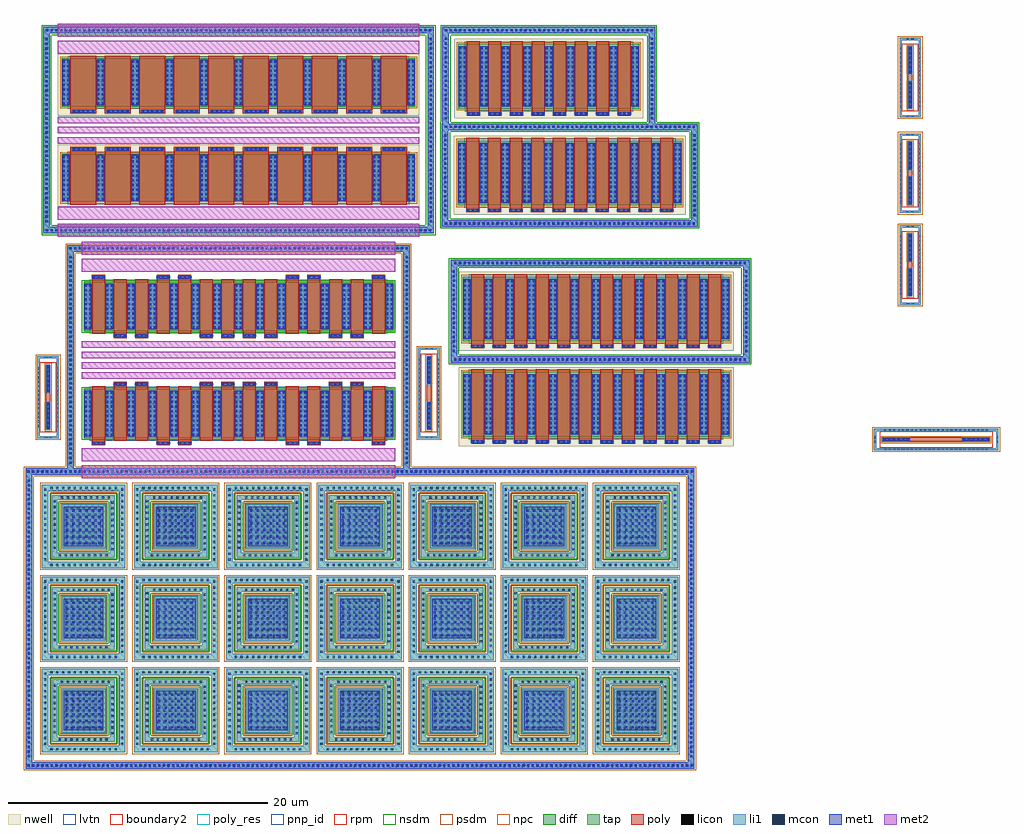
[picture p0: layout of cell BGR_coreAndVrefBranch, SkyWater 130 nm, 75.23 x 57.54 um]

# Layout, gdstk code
from math import pi, radians
import gdstk
lib = gdstk.Library(unit=1e-6, precision=5e-09)
def R(c, l, rs):  # rectangles x0, y0, x1, y1
    for r in rs: c.add(gdstk.rectangle(r[:2], r[2:], *l))
def A(c, l, x, y, w, h, nx, ny, dx, dy):  # array of equal rectangles
    R(c, l, [(x+i*dx, y+j*dy, x+i*dx+w, y+j*dy+h) for i in range(nx) for j in range(ny)])
def P(c, l, *ps):  # polygons
    for p in ps: c.add(gdstk.Polygon(p, *l))
nwell = (64, 20)
diff = (65, 20)
tap = (65, 44)
poly_res = (66, 13)
poly = (66, 20)
licon = (66, 44)
li1 = (67, 20)
mcon = (67, 44)
met1 = (68, 20)
met2 = (69, 20)
pnp_id = (82, 44)
rpm = (86, 20)
nsdm = (93, 44)
psdm = (94, 20)
npc = (95, 20)
lvtn = (125, 44)
boundary2 = (236, 0)

nfet = lib.new_cell('nfet')
R(nfet, diff, [(0,0,2.32,3.8)])
R(nfet, poly, [(0.66,-0.53,1.66,-0.2), (0.66,-0.2,1.66,4)])
A(nfet, licon, 0.715, -0.45, 0.17, 0.17, 3, 1, 0.36, 0)
A(nfet, licon, 0.065, 0.195, 0.17, 0.17, 1, 10, 0, 0.36)
A(nfet, licon, 0.425, 0.195, 0.17, 0.17, 1, 10, 0, 0.36)
A(nfet, licon, 1.725, 0.195, 0.17, 0.17, 1, 10, 0, 0.36)
A(nfet, licon, 2.085, 0.195, 0.17, 0.17, 1, 10, 0, 0.36)
R(nfet, li1, [(0.635,-0.45,1.685,-0.28), (0.065,0.115,0.595,3.685), (1.725,0.115,2.255,3.685)])
A(nfet, mcon, 0.715, -0.45, 0.17, 0.17, 3, 1, 0.36, 0)
A(nfet, mcon, 0.065, 0.195, 0.17, 0.17, 1, 10, 0, 0.36)
A(nfet, mcon, 0.425, 0.195, 0.17, 0.17, 1, 10, 0, 0.36)
A(nfet, mcon, 1.725, 0.195, 0.17, 0.17, 1, 10, 0, 0.36)
A(nfet, mcon, 2.085, 0.195, 0.17, 0.17, 1, 10, 0, 0.36)
R(nfet, met1, [(0.655,-0.48,1.665,-0.25), (0.035,0.135,0.625,3.665), (1.695,0.135,2.285,3.665)])
R(nfet, nsdm, [(-0.125,-0.125,2.445,3.925)])
R(nfet, npc, [(0.65,-0.54,1.67,-0.19)])
R(nfet, lvtn, [(0.48,-0.18,1.84,3.98)])

guard_ring_gen = lib.new_cell('guard_ring_gen')
P(guard_ring_gen, tap, [(-0.5,-0.5),(-0.5,16.7),(0,16.7),(0,0),(25.4,0),(25.4,16.7),(-0.5,16.7),(-0.5,17.2),(25.9,17.2),(25.9,-0.5)])
A(guard_ring_gen, licon, -0.345, -0.335, 0.17, 0.17, 73, 2, 0.36, 17.2)
A(guard_ring_gen, licon, -0.335, 0.345, 0.17, 0.17, 1, 45, 0, 0.36)
A(guard_ring_gen, licon, 25.565, 0.345, 0.17, 0.17, 1, 45, 0, 0.36)
P(guard_ring_gen, li1, [(-0.5,-0.5),(-0.5,16.7),(0,16.7),(0,0),(25.4,0),(25.4,16.7),(-0.5,16.7),(-0.5,17.2),(25.9,17.2),(25.9,-0.5)])
A(guard_ring_gen, mcon, -0.345, -0.335, 0.17, 0.17, 73, 2, 0.36, 17.2)
A(guard_ring_gen, mcon, -0.335, 0.345, 0.17, 0.17, 1, 45, 0, 0.36)
A(guard_ring_gen, mcon, 25.565, 0.345, 0.17, 0.17, 1, 45, 0, 0.36)
P(guard_ring_gen, met1, [(-0.5,-0.5),(-0.5,16.7),(0,16.7),(0,0),(25.4,0),(25.4,16.7),(-0.5,16.7),(-0.5,17.2),(25.9,17.2),(25.9,-0.5)])
P(guard_ring_gen, psdm, [(-0.625,-0.625),(-0.625,16.575),(0.125,16.575),(0.125,0.125),(25.275,0.125),(25.275,16.575),(-0.625,16.575),(-0.625,17.325),(26.025,17.325),(26.025,-0.625)])

res_poly = lib.new_cell('res_poly')
R(res_poly, tap, [(-0.825,-3.16,0.825,-2.99), (-0.825,-2.99,-0.655,2.99), (0.655,-2.99,0.825,2.99), (-0.825,2.99,0.825,3.16)])
R(res_poly, poly_res, [(-0.175,-0.41,0.175,0.41)])
R(res_poly, poly, [(-0.175,-2.51,0.175,2.51)])
A(res_poly, licon, -0.825, -2.295, 0.17, 0.17, 1, 14, 0, 0.34)
A(res_poly, licon, 0.655, -2.295, 0.17, 0.17, 1, 14, 0, 0.34)
R(res_poly, licon, [(-0.255,-3.16,-0.085,-2.99), (0.085,-3.16,0.255,-2.99), (-0.095,-2.43,0.095,-0.43), (-0.095,0.43,0.095,2.43), (-0.255,2.99,-0.085,3.16), (0.085,2.99,0.255,3.16)])
R(res_poly, li1, [(-0.825,-3.16,0.825,-2.99), (-0.825,-2.99,-0.655,2.99), (0.655,-2.99,0.825,2.99), (-0.175,-2.51,0.175,-0.35), (-0.175,0.35,0.175,2.51), (-0.825,2.99,0.825,3.16)])
A(res_poly, mcon, -0.085, -2.41, 0.17, 0.17, 1, 6, 0, 0.36)
A(res_poly, mcon, -0.085, 0.445, 0.17, 0.17, 1, 6, 0, 0.36)
R(res_poly, met1, [(-0.125,-2.48,0.125,-0.375), (-0.125,0.375,0.125,2.48)])
R(res_poly, rpm, [(-0.635,-2.71,0.635,2.71)])
R(res_poly, psdm, [(-0.95,-3.285,0.95,3.285)])
R(res_poly, npc, [(-0.27,-2.605,0.27,2.605)])

res_poly_9 = lib.new_cell('res_poly$9')
R(res_poly_9, tap, [(-0.825,-3.49,0.825,-3.32), (-0.825,-3.32,-0.655,3.32), (0.655,-3.32,0.825,3.32), (-0.825,3.32,0.825,3.49)])
R(res_poly_9, poly_res, [(-0.175,-0.74,0.175,0.74)])
R(res_poly_9, poly, [(-0.175,-2.84,0.175,2.84)])
A(res_poly_9, licon, -0.825, -2.635, 0.17, 0.17, 1, 16, 0, 0.34)
A(res_poly_9, licon, 0.655, -2.635, 0.17, 0.17, 1, 16, 0, 0.34)
R(res_poly_9, licon, [(-0.255,-3.49,-0.085,-3.32), (0.085,-3.49,0.255,-3.32), (-0.095,-2.76,0.095,-0.76), (-0.095,0.76,0.095,2.76), (-0.255,3.32,-0.085,3.49), (0.085,3.32,0.255,3.49)])
R(res_poly_9, li1, [(-0.825,-3.49,0.825,-3.32), (-0.825,-3.32,-0.655,3.32), (0.655,-3.32,0.825,3.32), (-0.175,-2.84,0.175,-0.68), (-0.175,0.68,0.175,2.84), (-0.825,3.32,0.825,3.49)])
A(res_poly_9, mcon, -0.085, -2.74, 0.17, 0.17, 1, 6, 0, 0.36)
A(res_poly_9, mcon, -0.085, 0.775, 0.17, 0.17, 1, 6, 0, 0.36)
R(res_poly_9, met1, [(-0.125,-2.81,0.125,-0.705), (-0.125,0.705,0.125,2.81)])
R(res_poly_9, rpm, [(-0.635,-3.04,0.635,3.04)])
R(res_poly_9, psdm, [(-0.95,-3.615,0.95,3.615)])
R(res_poly_9, npc, [(-0.27,-2.935,0.27,2.935)])

pfet = lib.new_cell('pfet')
R(pfet, nwell, [(-0.305,-0.38,2.625,5.72)])
R(pfet, diff, [(0,0,2.32,5)])
R(pfet, poly, [(0.66,-0.2,1.66,5.2), (0.66,5.2,1.66,5.53)])
A(pfet, licon, 0.065, 0.255, 0.17, 0.17, 1, 13, 0, 0.36)
A(pfet, licon, 0.425, 0.255, 0.17, 0.17, 1, 13, 0, 0.36)
A(pfet, licon, 1.725, 0.255, 0.17, 0.17, 1, 13, 0, 0.36)
A(pfet, licon, 2.085, 0.255, 0.17, 0.17, 1, 13, 0, 0.36)
A(pfet, licon, 0.715, 5.28, 0.17, 0.17, 3, 1, 0.36, 0)
R(pfet, li1, [(0.065,0.175,0.595,4.825), (1.725,0.175,2.255,4.825), (0.635,5.28,1.685,5.45)])
A(pfet, mcon, 0.065, 0.255, 0.17, 0.17, 1, 13, 0, 0.36)
A(pfet, mcon, 0.425, 0.255, 0.17, 0.17, 1, 13, 0, 0.36)
A(pfet, mcon, 1.725, 0.255, 0.17, 0.17, 1, 13, 0, 0.36)
A(pfet, mcon, 2.085, 0.255, 0.17, 0.17, 1, 13, 0, 0.36)
A(pfet, mcon, 0.715, 5.28, 0.17, 0.17, 3, 1, 0.36, 0)
R(pfet, met1, [(0.035,0.195,0.625,4.805), (1.695,0.195,2.285,4.805), (0.655,5.25,1.665,5.48)])
R(pfet, psdm, [(-0.125,-0.125,2.445,5.125)])
R(pfet, npc, [(0.65,5.19,1.67,5.54)])
R(pfet, lvtn, [(0.48,-0.18,1.84,5.18)])

pnp_bjt = lib.new_cell('pnp_bjt')
R(pnp_bjt, nwell, [(0.765,0.765,5.935,5.935)])
R(pnp_bjt, diff, [(1.65,1.65,5.05,5.05)])
P(pnp_bjt, tap, [(0.945,0.945),(0.945,5.755),(5.395,5.755),(5.395,5.395),(1.305,5.395),(1.305,1.305),(5.395,1.305),(5.395,5.755),(5.755,5.755),(5.755,0.945)],
  [(0.13,0.13),(0.13,6.57),(6.065,6.57),(6.065,6.065),(0.635,6.065),(0.635,0.635),(6.065,0.635),(6.065,6.57),(6.57,6.57),(6.57,0.13)])
A(pnp_bjt, licon, 0.78, 0.29, 0.17, 0.17, 12, 2, 0.45, 5.935)
A(pnp_bjt, licon, 0.3, 0.71, 0.17, 0.17, 1, 13, 0, 0.45)
A(pnp_bjt, licon, 6.235, 0.71, 0.17, 0.17, 1, 13, 0, 0.45)
A(pnp_bjt, licon, 1.43, 1.04, 0.17, 0.17, 9, 1, 0.45, 0)
A(pnp_bjt, licon, 5.49, 1.51, 0.17, 0.17, 1, 9, 0, 0.45)
A(pnp_bjt, licon, 1.04, 1.605, 0.17, 0.17, 1, 9, 0, 0.45)
A(pnp_bjt, licon, 1.92, 1.92, 0.17, 0.17, 7, 7, 0.45, 0.45)
A(pnp_bjt, licon, 1.6, 5.49, 0.17, 0.17, 9, 1, 0.45, 0)
A(pnp_bjt, li1, 0.58, 0.21, 0.33, 0.33, 12, 1, 0.45, 0)
A(pnp_bjt, li1, 0.675, 0.24, 0.27, 0.27, 11, 2, 0.5, 5.96)
A(pnp_bjt, li1, 6.16, 0.54, 0.33, 0.33, 1, 13, 0, 0.45)
A(pnp_bjt, li1, 0.22, 0.63, 0.33, 0.33, 1, 13, 0, 0.45)
A(pnp_bjt, li1, 1.35, 0.96, 0.33, 0.33, 9, 1, 0.45, 0)
A(pnp_bjt, li1, 1.14, 0.985, 0.27, 0.27, 9, 1, 0.5, 0)
A(pnp_bjt, li1, 5.41, 1.43, 0.33, 0.33, 1, 9, 0, 0.45)
A(pnp_bjt, li1, 0.96, 1.525, 0.33, 0.33, 1, 9, 0, 0.45)
A(pnp_bjt, li1, 1.84, 1.84, 0.33, 0.33, 7, 7, 0.45, 0.45)
A(pnp_bjt, li1, 1.93, 1.93, 0.27, 0.27, 6, 6, 0.5, 0.5)
A(pnp_bjt, li1, 1.52, 5.41, 0.33, 0.33, 9, 1, 0.45, 0)
A(pnp_bjt, li1, 1.155, 5.44, 0.27, 0.27, 9, 1, 0.5, 0)
A(pnp_bjt, li1, 0.7, 6.165, 0.33, 0.33, 12, 1, 0.45, 0)
R(pnp_bjt, li1, [(1.615,1.615,5.085,5.085), (1.65,1.65,5.05,5.05)])
P(pnp_bjt, li1, [(0.13,0.13),(0.13,6.57),(6.075,6.57),(6.075,6.075),(0.625,6.075),(0.625,0.625),(6.075,0.625),(6.075,6.57),(6.57,6.57),(6.57,0.13)],
  [(0.945,0.945),(0.945,5.755),(5.395,5.755),(5.395,5.395),(1.305,5.395),(1.305,1.305),(5.395,1.305),(5.395,5.755),(5.755,5.755),(5.755,0.945)])
A(pnp_bjt, mcon, 1.98, 1.98, 0.17, 0.17, 6, 6, 0.5, 0.5)
A(pnp_bjt, met1, 1.93, 1.93, 0.27, 0.27, 6, 6, 0.5, 0.5)
R(pnp_bjt, met1, [(1.825,1.825,4.875,4.875)])
R(pnp_bjt, pnp_id, [(0.135,0.135,6.565,6.565)])
P(pnp_bjt, nsdm, [(0.805,0.805),(0.805,5.895),(5.265,5.895),(5.265,5.265),(1.435,5.265),(1.435,1.435),(5.265,1.435),(5.265,5.895),(5.895,5.895),(5.895,0.805)])
R(pnp_bjt, psdm, [(1.52,1.52,5.18,5.18)])
P(pnp_bjt, psdm, [(0,0),(0,6.7),(5.935,6.7),(5.935,5.935),(0.765,5.935),(0.765,0.765),(5.935,0.765),(5.935,6.7),(6.7,6.7),(6.7,0)])
R(pnp_bjt, boundary2, [(0.13,0.13,6.57,6.57)])
pnp_bjt.add(gdstk.Label('Emitter', (3.39,3.39), layer=67, texttype=5))
pnp_bjt.add(gdstk.Label('Collector', (3.32,6.38), layer=67, texttype=5))
pnp_bjt.add(gdstk.Label('Base', (3.245,5.61), layer=67, texttype=5))

guard_ring_gen_2 = lib.new_cell('guard_ring_gen$2')
P(guard_ring_gen_2, tap, [(-0.5,-0.5),(-0.5,22.15),(0,22.15),(0,0),(50.55,0),(50.55,22.15),(-0.5,22.15),(-0.5,22.65),(51.05,22.65),(51.05,-0.5)])
A(guard_ring_gen_2, licon, -0.37, -0.335, 0.17, 0.17, 143, 2, 0.36, 22.65)
A(guard_ring_gen_2, licon, -0.335, 0.37, 0.17, 0.17, 1, 60, 0, 0.36)
A(guard_ring_gen_2, licon, 50.715, 0.37, 0.17, 0.17, 1, 60, 0, 0.36)
P(guard_ring_gen_2, li1, [(-0.5,-0.5),(-0.5,22.15),(0,22.15),(0,0),(50.55,0),(50.55,22.15),(-0.5,22.15),(-0.5,22.65),(51.05,22.65),(51.05,-0.5)])
A(guard_ring_gen_2, mcon, -0.37, -0.335, 0.17, 0.17, 143, 2, 0.36, 22.65)
A(guard_ring_gen_2, mcon, -0.335, 0.37, 0.17, 0.17, 1, 60, 0, 0.36)
A(guard_ring_gen_2, mcon, 50.715, 0.37, 0.17, 0.17, 1, 60, 0, 0.36)
P(guard_ring_gen_2, met1, [(-0.5,-0.5),(-0.5,22.15),(0,22.15),(0,0),(50.55,0),(50.55,22.15),(-0.5,22.15),(-0.5,22.65),(51.05,22.65),(51.05,-0.5)])
P(guard_ring_gen_2, psdm, [(-0.625,-0.625),(-0.625,22.025),(0.125,22.025),(0.125,0.125),(50.425,0.125),(50.425,22.025),(-0.625,22.025),(-0.625,22.775),(51.175,22.775),(51.175,-0.625)])

guard_ring_gen_4 = lib.new_cell('guard_ring_gen$4')
P(guard_ring_gen_4, tap, [(-0.5,-0.5),(-0.5,6.95),(0,6.95),(0,0),(15.4,0),(15.4,6.95),(-0.5,6.95),(-0.5,7.45),(15.9,7.45),(15.9,-0.5)])
A(guard_ring_gen_4, licon, -0.305, -0.335, 0.17, 0.17, 45, 2, 0.36, 7.45)
A(guard_ring_gen_4, licon, -0.335, 0.33, 0.17, 0.17, 1, 18, 0, 0.36)
A(guard_ring_gen_4, licon, 15.565, 0.33, 0.17, 0.17, 1, 18, 0, 0.36)
P(guard_ring_gen_4, li1, [(-0.5,-0.5),(-0.5,6.95),(0,6.95),(0,0),(15.4,0),(15.4,6.95),(-0.5,6.95),(-0.5,7.45),(15.9,7.45),(15.9,-0.5)])
A(guard_ring_gen_4, mcon, -0.305, -0.335, 0.17, 0.17, 45, 2, 0.36, 7.45)
A(guard_ring_gen_4, mcon, -0.335, 0.33, 0.17, 0.17, 1, 18, 0, 0.36)
A(guard_ring_gen_4, mcon, 15.565, 0.33, 0.17, 0.17, 1, 18, 0, 0.36)
P(guard_ring_gen_4, met1, [(-0.5,-0.5),(-0.5,6.95),(0,6.95),(0,0),(15.4,0),(15.4,6.95),(-0.5,6.95),(-0.5,7.45),(15.9,7.45),(15.9,-0.5)])
P(guard_ring_gen_4, nsdm, [(-0.625,-0.625),(-0.625,6.825),(0.125,6.825),(0.125,0.125),(15.275,0.125),(15.275,6.825),(-0.625,6.825),(-0.625,7.575),(16.025,7.575),(16.025,-0.625)])

guard_ring_gen_6 = lib.new_cell('guard_ring_gen$6')
P(guard_ring_gen_6, tap, [(-0.5,-0.5),(-0.5,6.95),(0,6.95),(0,0),(18.72,0),(18.72,6.95),(-0.5,6.95),(-0.5,7.45),(19.22,7.45),(19.22,-0.5)])
A(guard_ring_gen_6, licon, -0.265, -0.335, 0.17, 0.17, 54, 2, 0.36, 7.45)
A(guard_ring_gen_6, licon, -0.335, 0.33, 0.17, 0.17, 1, 18, 0, 0.36)
A(guard_ring_gen_6, licon, 18.885, 0.33, 0.17, 0.17, 1, 18, 0, 0.36)
P(guard_ring_gen_6, li1, [(-0.5,-0.5),(-0.5,6.95),(0,6.95),(0,0),(18.72,0),(18.72,6.95),(-0.5,6.95),(-0.5,7.45),(19.22,7.45),(19.22,-0.5)])
A(guard_ring_gen_6, mcon, -0.265, -0.335, 0.17, 0.17, 54, 2, 0.36, 7.45)
A(guard_ring_gen_6, mcon, -0.335, 0.33, 0.17, 0.17, 1, 18, 0, 0.36)
A(guard_ring_gen_6, mcon, 18.885, 0.33, 0.17, 0.17, 1, 18, 0, 0.36)
P(guard_ring_gen_6, met1, [(-0.5,-0.5),(-0.5,6.95),(0,6.95),(0,0),(18.72,0),(18.72,6.95),(-0.5,6.95),(-0.5,7.45),(19.22,7.45),(19.22,-0.5)])
P(guard_ring_gen_6, nsdm, [(-0.625,-0.625),(-0.625,6.825),(0.125,6.825),(0.125,0.125),(18.595,0.125),(18.595,6.825),(-0.625,6.825),(-0.625,7.575),(19.345,7.575),(19.345,-0.625)])

guard_ring_gen_9 = lib.new_cell('guard_ring_gen$9')
P(guard_ring_gen_9, tap, [(-0.5,-0.5),(-0.5,6.95),(0,6.95),(0,0),(22.04,0),(22.04,6.95),(-0.5,6.95),(-0.5,7.45),(22.54,7.45),(22.54,-0.5)])
A(guard_ring_gen_9, licon, -0.225, -0.335, 0.17, 0.17, 63, 2, 0.36, 7.45)
A(guard_ring_gen_9, licon, -0.335, 0.33, 0.17, 0.17, 1, 18, 0, 0.36)
A(guard_ring_gen_9, licon, 22.205, 0.33, 0.17, 0.17, 1, 18, 0, 0.36)
P(guard_ring_gen_9, li1, [(-0.5,-0.5),(-0.5,6.95),(0,6.95),(0,0),(22.04,0),(22.04,6.95),(-0.5,6.95),(-0.5,7.45),(22.54,7.45),(22.54,-0.5)])
A(guard_ring_gen_9, mcon, -0.225, -0.335, 0.17, 0.17, 63, 2, 0.36, 7.45)
A(guard_ring_gen_9, mcon, -0.335, 0.33, 0.17, 0.17, 1, 18, 0, 0.36)
A(guard_ring_gen_9, mcon, 22.205, 0.33, 0.17, 0.17, 1, 18, 0, 0.36)
P(guard_ring_gen_9, met1, [(-0.5,-0.5),(-0.5,6.95),(0,6.95),(0,0),(22.04,0),(22.04,6.95),(-0.5,6.95),(-0.5,7.45),(22.54,7.45),(22.54,-0.5)])
P(guard_ring_gen_9, nsdm, [(-0.625,-0.625),(-0.625,6.825),(0.125,6.825),(0.125,0.125),(21.915,0.125),(21.915,6.825),(-0.625,6.825),(-0.625,7.575),(22.665,7.575),(22.665,-0.625)])

res_poly_3 = lib.new_cell('res_poly$3')
R(res_poly_3, tap, [(-0.825,-3.06,0.825,-2.89), (-0.825,-2.89,-0.655,2.89), (0.655,-2.89,0.825,2.89), (-0.825,2.89,0.825,3.06)])
R(res_poly_3, poly_res, [(-0.175,-0.31,0.175,0.31)])
R(res_poly_3, poly, [(-0.175,-2.41,0.175,2.41)])
A(res_poly_3, licon, -0.825, -2.295, 0.17, 0.17, 1, 14, 0, 0.34)
A(res_poly_3, licon, 0.655, -2.295, 0.17, 0.17, 1, 14, 0, 0.34)
R(res_poly_3, licon, [(-0.255,-3.06,-0.085,-2.89), (0.085,-3.06,0.255,-2.89), (-0.095,-2.33,0.095,-0.33), (-0.095,0.33,0.095,2.33), (-0.255,2.89,-0.085,3.06), (0.085,2.89,0.255,3.06)])
R(res_poly_3, li1, [(-0.825,-3.06,0.825,-2.89), (-0.825,-2.89,-0.655,2.89), (0.655,-2.89,0.825,2.89), (-0.175,-2.41,0.175,-0.25), (-0.175,0.25,0.175,2.41), (-0.825,2.89,0.825,3.06)])
A(res_poly_3, mcon, -0.085, -2.31, 0.17, 0.17, 1, 6, 0, 0.36)
A(res_poly_3, mcon, -0.085, 0.345, 0.17, 0.17, 1, 6, 0, 0.36)
R(res_poly_3, met1, [(-0.125,-2.38,0.125,-0.275), (-0.125,0.275,0.125,2.38)])
R(res_poly_3, rpm, [(-0.635,-2.61,0.635,2.61)])
R(res_poly_3, psdm, [(-0.95,-3.185,0.95,3.185)])
R(res_poly_3, npc, [(-0.27,-2.505,0.27,2.505)])

pfet_3 = lib.new_cell('pfet$3')
R(pfet_3, nwell, [(-0.305,-0.38,3.625,4.42)])
R(pfet_3, diff, [(0,0,3.32,3.7)])
R(pfet_3, poly, [(0.66,-0.2,2.66,3.9), (0.66,3.9,2.66,4.23)])
A(pfet_3, licon, 0.065, 0.145, 0.17, 0.17, 1, 10, 0, 0.36)
A(pfet_3, licon, 0.425, 0.145, 0.17, 0.17, 1, 10, 0, 0.36)
A(pfet_3, licon, 2.725, 0.145, 0.17, 0.17, 1, 10, 0, 0.36)
A(pfet_3, licon, 3.085, 0.145, 0.17, 0.17, 1, 10, 0, 0.36)
A(pfet_3, licon, 0.855, 3.98, 0.17, 0.17, 5, 1, 0.36, 0)
R(pfet_3, li1, [(0.065,0.065,0.595,3.635), (2.725,0.065,3.255,3.635), (0.775,3.98,2.545,4.15)])
A(pfet_3, mcon, 0.065, 0.145, 0.17, 0.17, 1, 10, 0, 0.36)
A(pfet_3, mcon, 0.425, 0.145, 0.17, 0.17, 1, 10, 0, 0.36)
A(pfet_3, mcon, 2.725, 0.145, 0.17, 0.17, 1, 10, 0, 0.36)
A(pfet_3, mcon, 3.085, 0.145, 0.17, 0.17, 1, 10, 0, 0.36)
A(pfet_3, mcon, 0.855, 3.98, 0.17, 0.17, 5, 1, 0.36, 0)
R(pfet_3, met1, [(0.035,0.085,0.625,3.615), (2.695,0.085,3.285,3.615), (0.795,3.95,2.525,4.18)])
R(pfet_3, psdm, [(-0.125,-0.125,3.445,3.825)])
R(pfet_3, npc, [(0.65,3.89,2.67,4.24)])
R(pfet_3, lvtn, [(0.48,-0.18,2.84,3.88)])

guard_ring_gen_5 = lib.new_cell('guard_ring_gen$5')
P(guard_ring_gen_5, tap, [(-0.5,-0.5),(-0.5,14.915),(0,14.915),(0,0),(29.12,0),(29.12,14.915),(-0.5,14.915),(-0.5,15.415),(29.62,15.415),(29.62,-0.5)])
A(guard_ring_gen_5, licon, -0.285, -0.335, 0.17, 0.17, 83, 2, 0.36, 15.415)
A(guard_ring_gen_5, licon, -0.335, 0.355, 0.17, 0.17, 1, 40, 0, 0.36)
A(guard_ring_gen_5, licon, 29.285, 0.355, 0.17, 0.17, 1, 40, 0, 0.36)
P(guard_ring_gen_5, li1, [(-0.5,-0.5),(-0.5,14.915),(0,14.915),(0,0),(29.12,0),(29.12,14.915),(-0.5,14.915),(-0.5,15.415),(29.62,15.415),(29.62,-0.5)])
A(guard_ring_gen_5, mcon, -0.285, -0.335, 0.17, 0.17, 83, 2, 0.36, 15.415)
A(guard_ring_gen_5, mcon, -0.335, 0.355, 0.17, 0.17, 1, 40, 0, 0.36)
A(guard_ring_gen_5, mcon, 29.285, 0.355, 0.17, 0.17, 1, 40, 0, 0.36)
P(guard_ring_gen_5, met1, [(-0.5,-0.5),(-0.5,14.915),(0,14.915),(0,0),(29.12,0),(29.12,14.915),(-0.5,14.915),(-0.5,15.415),(29.62,15.415),(29.62,-0.5)])
P(guard_ring_gen_5, nsdm, [(-0.625,-0.625),(-0.625,14.79),(0.125,14.79),(0.125,0.125),(28.995,0.125),(28.995,14.79),(-0.625,14.79),(-0.625,15.54),(29.745,15.54),(29.745,-0.625)])

res_poly_4 = lib.new_cell('res_poly$4')
R(res_poly_4, tap, [(-0.825,-4.8,0.825,-4.63), (-0.825,-4.63,-0.655,4.63), (0.655,-4.63,0.825,4.63), (-0.825,4.63,0.825,4.8)])
R(res_poly_4, poly_res, [(-0.175,-2.05,0.175,2.05)])
R(res_poly_4, poly, [(-0.175,-4.15,0.175,4.15)])
A(res_poly_4, licon, -0.825, -3.995, 0.17, 0.17, 1, 24, 0, 0.34)
A(res_poly_4, licon, 0.655, -3.995, 0.17, 0.17, 1, 24, 0, 0.34)
R(res_poly_4, licon, [(-0.255,-4.8,-0.085,-4.63), (0.085,-4.8,0.255,-4.63), (-0.095,-4.07,0.095,-2.07), (-0.095,2.07,0.095,4.07), (-0.255,4.63,-0.085,4.8), (0.085,4.63,0.255,4.8)])
R(res_poly_4, li1, [(-0.825,-4.8,0.825,-4.63), (-0.825,-4.63,-0.655,4.63), (0.655,-4.63,0.825,4.63), (-0.175,-4.15,0.175,-1.99), (-0.175,1.99,0.175,4.15), (-0.825,4.63,0.825,4.8)])
A(res_poly_4, mcon, -0.085, -4.05, 0.17, 0.17, 1, 6, 0, 0.36)
A(res_poly_4, mcon, -0.085, 2.085, 0.17, 0.17, 1, 6, 0, 0.36)
R(res_poly_4, met1, [(-0.125,-4.12,0.125,-2.015), (-0.125,2.015,0.125,4.12)])
R(res_poly_4, rpm, [(-0.635,-4.35,0.635,4.35)])
R(res_poly_4, psdm, [(-0.95,-4.925,0.95,4.925)])
R(res_poly_4, npc, [(-0.27,-4.245,0.27,4.245)])

bgr_coreandvrefbranch = lib.new_cell('BGR_coreAndVrefBranch')
R(bgr_coreandvrefbranch, lvtn, [(70.1,158.2,93.04,162.36), (99.32,158.31,105.66,163.67), (99.32,158.31,112.3,163.67), (99.32,158.31,118.94,163.67), (99.32,165.66,105.66,171.02), (99.32,165.66,112.3,171.02), (99.32,165.66,118.94,171.02), (70.1,166.455,93.04,170.615), (98.95,176.145,105.29,181.505), (98.95,176.145,111.93,181.505), (98.95,176.145,115.25,181.505), (68.42,176.415,94.72,180.475), (98.99,183.595,105.33,188.955), (98.99,183.595,111.97,188.955), (68.42,183.77,94.72,187.83)])
bgr_coreandvrefbranch.add(gdstk.FlexPath([(95.505,182.925),(67.635,182.925)], 0.5, ends="flush", simple_path=True, layer=69, datatype=20))  # met2
bgr_coreandvrefbranch.add(gdstk.FlexPath([(95.505,182.125),(67.635,182.125)], 0.5, ends="flush", simple_path=True, layer=69, datatype=20))  # met2
bgr_coreandvrefbranch.add(gdstk.FlexPath([(95.505,175.715),(67.635,175.715)], 1, ends="flush", simple_path=True, layer=69, datatype=20))  # met2
bgr_coreandvrefbranch.add(gdstk.FlexPath([(95.505,181.325),(67.635,181.325)], 0.5, ends="flush", simple_path=True, layer=69, datatype=20))  # met2
bgr_coreandvrefbranch.add(gdstk.FlexPath([(95.505,174.415),(67.635,174.415)], 1, ends="flush", simple_path=True, layer=69, datatype=20))  # met2
bgr_coreandvrefbranch.add(gdstk.FlexPath([(95.505,188.53),(67.635,188.53)], 1, ends="flush", simple_path=True, layer=69, datatype=20))  # met2
bgr_coreandvrefbranch.add(gdstk.FlexPath([(95.505,189.83),(67.635,189.83)], 1, ends="flush", simple_path=True, layer=69, datatype=20))  # met2
bgr_coreandvrefbranch.add(gdstk.FlexPath([(93.65,165.605),(69.495,165.605)], 0.5, ends="flush", simple_path=True, layer=69, datatype=20))  # met2
bgr_coreandvrefbranch.add(gdstk.FlexPath([(93.65,164.805),(69.495,164.805)], 0.5, ends="flush", simple_path=True, layer=69, datatype=20))  # met2
bgr_coreandvrefbranch.add(gdstk.FlexPath([(93.65,164.005),(69.495,164.005)], 0.5, ends="flush", simple_path=True, layer=69, datatype=20))  # met2
bgr_coreandvrefbranch.add(gdstk.FlexPath([(93.65,163.21),(69.495,163.21)], 0.5, ends="flush", simple_path=True, layer=69, datatype=20))  # met2
bgr_coreandvrefbranch.add(gdstk.FlexPath([(93.65,157.1),(69.495,157.1)], 1, ends="flush", simple_path=True, layer=69, datatype=20))  # met2
bgr_coreandvrefbranch.add(gdstk.FlexPath([(93.65,171.715),(69.495,171.715)], 1, ends="flush", simple_path=True, layer=69, datatype=20))  # met2
bgr_coreandvrefbranch.add(gdstk.FlexPath([(93.65,173.015),(69.495,173.015)], 1, ends="flush", simple_path=True, layer=69, datatype=20))  # met2
bgr_coreandvrefbranch.add(gdstk.FlexPath([(93.65,155.8),(69.495,155.8)], 1, ends="flush", simple_path=True, layer=69, datatype=20))  # met2
bgr_coreandvrefbranch.add(gdstk.Reference(nfet, (89.54,162.18), x_reflection=True))
bgr_coreandvrefbranch.add(gdstk.Reference(guard_ring_gen, (68.87,156.065)))
bgr_coreandvrefbranch.add(gdstk.Reference(res_poly, (66.895,161.54)))
bgr_coreandvrefbranch.add(gdstk.Reference(res_poly_9, (96.245,161.87)))
bgr_coreandvrefbranch.add(gdstk.Reference(pfet, (108.8,163.49), x_reflection=True))
bgr_coreandvrefbranch.add(gdstk.Reference(pfet, (107.14,163.49), x_reflection=True))
bgr_coreandvrefbranch.add(gdstk.Reference(pfet, (105.48,163.49), x_reflection=True))
bgr_coreandvrefbranch.add(gdstk.Reference(pfet, (113.78,163.49), x_reflection=True))
bgr_coreandvrefbranch.add(gdstk.Reference(pfet, (112.12,163.49), x_reflection=True))
bgr_coreandvrefbranch.add(gdstk.Reference(pfet, (98.84,163.49), x_reflection=True))
bgr_coreandvrefbranch.add(gdstk.Reference(pfet, (100.5,163.49), x_reflection=True))
bgr_coreandvrefbranch.add(gdstk.Reference(pfet, (102.16,163.49), x_reflection=True))
bgr_coreandvrefbranch.add(gdstk.Reference(pfet, (100.17,188.775), x_reflection=True))
bgr_coreandvrefbranch.add(gdstk.Reference(pfet, (101.83,188.775), x_reflection=True))
bgr_coreandvrefbranch.add(gdstk.Reference(pfet, (100.5,170.84), x_reflection=True))
bgr_coreandvrefbranch.add(gdstk.Reference(pfet, (102.16,170.84), x_reflection=True))
bgr_coreandvrefbranch.add(gdstk.Reference(nfet, (72.94,162.18), x_reflection=True))
bgr_coreandvrefbranch.add(gdstk.Reference(nfet, (71.28,162.18), x_reflection=True))
bgr_coreandvrefbranch.add(gdstk.Reference(nfet, (69.62,158.38)))
bgr_coreandvrefbranch.add(gdstk.Reference(nfet, (84.56,158.38)))
bgr_coreandvrefbranch.add(gdstk.Reference(nfet, (87.88,162.18), x_reflection=True))
bgr_coreandvrefbranch.add(gdstk.Reference(nfet, (86.22,158.38)))
bgr_coreandvrefbranch.add(gdstk.Reference(nfet, (82.9,162.18), x_reflection=True))
bgr_coreandvrefbranch.add(gdstk.Reference(nfet, (81.24,162.18), x_reflection=True))
bgr_coreandvrefbranch.add(gdstk.Reference(nfet, (79.58,162.18), x_reflection=True))
bgr_coreandvrefbranch.add(gdstk.Reference(nfet, (77.92,162.18), x_reflection=True))
bgr_coreandvrefbranch.add(gdstk.Reference(nfet, (76.26,158.38)))
bgr_coreandvrefbranch.add(gdstk.Reference(nfet, (74.6,158.38)))
bgr_coreandvrefbranch.add(gdstk.Reference(nfet, (91.2,158.38)))
bgr_coreandvrefbranch.add(gdstk.Reference(pnp_bjt, (101.78,148.24)))
bgr_coreandvrefbranch.add(gdstk.Reference(pnp_bjt, (101.78,134.04)))
bgr_coreandvrefbranch.add(gdstk.Reference(pnp_bjt, (101.78,141.14)))
bgr_coreandvrefbranch.add(gdstk.Reference(guard_ring_gen_2, (65.655,133.415)))
bgr_coreandvrefbranch.add(gdstk.Reference(pfet, (103.82,163.49), x_reflection=True))
bgr_coreandvrefbranch.add(gdstk.Reference(pfet, (110.46,163.49), x_reflection=True))
bgr_coreandvrefbranch.add(gdstk.Reference(pfet, (115.44,163.49), x_reflection=True))
bgr_coreandvrefbranch.add(gdstk.Reference(pfet, (117.1,163.49), x_reflection=True))
bgr_coreandvrefbranch.add(gdstk.Reference(guard_ring_gen_4, (97.78,182.63)))
bgr_coreandvrefbranch.add(gdstk.Reference(guard_ring_gen_6, (97.74,175.18)))
bgr_coreandvrefbranch.add(gdstk.Reference(pfet, (101.79,181.325), x_reflection=True))
bgr_coreandvrefbranch.add(gdstk.Reference(pfet, (100.13,181.325), x_reflection=True))
bgr_coreandvrefbranch.add(gdstk.Reference(guard_ring_gen_9, (98.41,164.695)))
bgr_coreandvrefbranch.add(gdstk.Reference(pfet, (105.48,170.84), x_reflection=True))
bgr_coreandvrefbranch.add(gdstk.Reference(res_poly_3, (133.335,178.805)))
bgr_coreandvrefbranch.add(gdstk.Reference(pfet, (103.82,170.84), x_reflection=True))
bgr_coreandvrefbranch.add(gdstk.Reference(pfet, (110.46,170.84), x_reflection=True))
bgr_coreandvrefbranch.add(gdstk.Reference(pfet, (108.8,170.84), x_reflection=True))
bgr_coreandvrefbranch.add(gdstk.Reference(res_poly_3, (133.335,186.185)))
bgr_coreandvrefbranch.add(gdstk.Reference(pfet, (115.44,170.84), x_reflection=True))
bgr_coreandvrefbranch.add(gdstk.Reference(pfet, (117.1,170.84), x_reflection=True))
bgr_coreandvrefbranch.add(gdstk.Reference(pfet, (113.78,170.84), x_reflection=True))
bgr_coreandvrefbranch.add(gdstk.Reference(pfet, (112.12,170.84), x_reflection=True))
bgr_coreandvrefbranch.add(gdstk.Reference(pfet, (107.14,170.84), x_reflection=True))
bgr_coreandvrefbranch.add(gdstk.Reference(pfet, (103.49,188.775), x_reflection=True))
bgr_coreandvrefbranch.add(gdstk.Reference(pfet, (110.13,188.775), x_reflection=True))
bgr_coreandvrefbranch.add(gdstk.Reference(pfet, (108.47,188.775), x_reflection=True))
bgr_coreandvrefbranch.add(gdstk.Reference(pfet, (105.11,181.325), x_reflection=True))
bgr_coreandvrefbranch.add(gdstk.Reference(pfet, (106.77,181.325), x_reflection=True))
bgr_coreandvrefbranch.add(gdstk.Reference(pfet, (108.43,181.325), x_reflection=True))
bgr_coreandvrefbranch.add(gdstk.Reference(pfet, (110.09,181.325), x_reflection=True))
bgr_coreandvrefbranch.add(gdstk.Reference(pfet, (103.45,181.325), x_reflection=True))
bgr_coreandvrefbranch.add(gdstk.Reference(pfet, (106.81,188.775), x_reflection=True))
bgr_coreandvrefbranch.add(gdstk.Reference(pfet, (105.15,188.775), x_reflection=True))
bgr_coreandvrefbranch.add(gdstk.Reference(pfet, (113.41,181.325), x_reflection=True))
bgr_coreandvrefbranch.add(gdstk.Reference(pfet, (111.75,181.325), x_reflection=True))
bgr_coreandvrefbranch.add(gdstk.Reference(res_poly_3, (133.335,171.73)))
bgr_coreandvrefbranch.add(gdstk.Reference(pfet_3, (86.56,187.65), x_reflection=True))
bgr_coreandvrefbranch.add(gdstk.Reference(pfet_3, (78.58,187.65), x_reflection=True))
bgr_coreandvrefbranch.add(gdstk.Reference(pfet_3, (89.22,187.65), x_reflection=True))
bgr_coreandvrefbranch.add(gdstk.Reference(nfet, (91.2,170.435), x_reflection=True))
bgr_coreandvrefbranch.add(gdstk.Reference(nfet, (87.88,166.635)))
bgr_coreandvrefbranch.add(gdstk.Reference(nfet, (86.22,170.435), x_reflection=True))
bgr_coreandvrefbranch.add(gdstk.Reference(pfet, (98.51,188.775), x_reflection=True))
bgr_coreandvrefbranch.add(gdstk.Reference(nfet, (79.58,166.635)))
bgr_coreandvrefbranch.add(gdstk.Reference(nfet, (77.92,166.635)))
bgr_coreandvrefbranch.add(gdstk.Reference(nfet, (76.26,170.435), x_reflection=True))
bgr_coreandvrefbranch.add(gdstk.Reference(nfet, (74.6,170.435), x_reflection=True))
bgr_coreandvrefbranch.add(gdstk.Reference(nfet, (72.94,166.635)))
bgr_coreandvrefbranch.add(gdstk.Reference(nfet, (71.28,166.635)))
bgr_coreandvrefbranch.add(gdstk.Reference(nfet, (69.62,170.435), x_reflection=True))
bgr_coreandvrefbranch.add(gdstk.Reference(nfet, (84.56,170.435), x_reflection=True))
bgr_coreandvrefbranch.add(gdstk.Reference(pfet_3, (91.88,176.595)))
bgr_coreandvrefbranch.add(gdstk.Reference(pfet_3, (91.88,187.65), x_reflection=True))
bgr_coreandvrefbranch.add(gdstk.Reference(nfet, (82.9,166.635)))
bgr_coreandvrefbranch.add(gdstk.Reference(pfet, (98.84,170.84), x_reflection=True))
bgr_coreandvrefbranch.add(gdstk.Reference(nfet, (81.24,166.635)))
bgr_coreandvrefbranch.add(gdstk.Reference(guard_ring_gen_5, (67.01,174.665)))
bgr_coreandvrefbranch.add(gdstk.Reference(pfet_3, (89.22,176.595)))
bgr_coreandvrefbranch.add(gdstk.Reference(nfet, (89.54,166.635)))
bgr_coreandvrefbranch.add(gdstk.Reference(pfet_3, (81.24,187.65), x_reflection=True))
bgr_coreandvrefbranch.add(gdstk.Reference(pfet_3, (83.9,187.65), x_reflection=True))
bgr_coreandvrefbranch.add(gdstk.Reference(pfet_3, (83.9,176.595)))
bgr_coreandvrefbranch.add(gdstk.Reference(pfet_3, (81.24,176.595)))
bgr_coreandvrefbranch.add(gdstk.Reference(pfet_3, (78.58,176.595)))
bgr_coreandvrefbranch.add(gdstk.Reference(pfet_3, (75.92,176.595)))
bgr_coreandvrefbranch.add(gdstk.Reference(pfet_3, (73.26,176.595)))
bgr_coreandvrefbranch.add(gdstk.Reference(pfet_3, (70.6,176.595)))
bgr_coreandvrefbranch.add(gdstk.Reference(pfet_3, (67.94,176.595)))
bgr_coreandvrefbranch.add(gdstk.Reference(pfet_3, (70.6,187.65), x_reflection=True))
bgr_coreandvrefbranch.add(gdstk.Reference(pfet_3, (73.26,187.65), x_reflection=True))
bgr_coreandvrefbranch.add(gdstk.Reference(pfet, (98.47,181.325), x_reflection=True))
bgr_coreandvrefbranch.add(gdstk.Reference(pfet_3, (75.92,187.65), x_reflection=True))
bgr_coreandvrefbranch.add(gdstk.Reference(pfet_3, (86.56,176.595)))
bgr_coreandvrefbranch.add(gdstk.Reference(pfet_3, (67.94,187.65), x_reflection=True))
bgr_coreandvrefbranch.add(gdstk.Reference(pnp_bjt, (66.28,134.04)))
bgr_coreandvrefbranch.add(gdstk.Reference(pnp_bjt, (80.48,141.14)))
bgr_coreandvrefbranch.add(gdstk.Reference(pnp_bjt, (73.38,134.04)))
bgr_coreandvrefbranch.add(gdstk.Reference(pnp_bjt, (73.38,141.14)))
bgr_coreandvrefbranch.add(gdstk.Reference(pnp_bjt, (73.38,148.24)))
bgr_coreandvrefbranch.add(gdstk.Reference(pnp_bjt, (66.28,148.24)))
bgr_coreandvrefbranch.add(gdstk.Reference(pnp_bjt, (80.48,134.04)))
bgr_coreandvrefbranch.add(gdstk.Reference(pnp_bjt, (94.68,148.24)))
bgr_coreandvrefbranch.add(gdstk.Reference(pnp_bjt, (87.58,148.24)))
bgr_coreandvrefbranch.add(gdstk.Reference(pnp_bjt, (87.58,134.04)))
bgr_coreandvrefbranch.add(gdstk.Reference(pnp_bjt, (87.58,141.14)))
bgr_coreandvrefbranch.add(gdstk.Reference(pnp_bjt, (94.68,141.14)))
bgr_coreandvrefbranch.add(gdstk.Reference(pnp_bjt, (94.68,134.04)))
bgr_coreandvrefbranch.add(gdstk.Reference(pnp_bjt, (80.48,148.24)))
bgr_coreandvrefbranch.add(gdstk.Reference(pnp_bjt, (66.28,141.14)))
bgr_coreandvrefbranch.add(gdstk.Reference(pnp_bjt, (108.88,134.04)))
bgr_coreandvrefbranch.add(gdstk.Reference(pnp_bjt, (108.88,141.14)))
bgr_coreandvrefbranch.add(gdstk.Reference(res_poly_4, (135.33,158.275), rotation=pi/2, x_reflection=True))
bgr_coreandvrefbranch.add(gdstk.Reference(pnp_bjt, (108.88,148.24)))

lib.write_gds('BGR_coreAndVrefBranch.gds')
